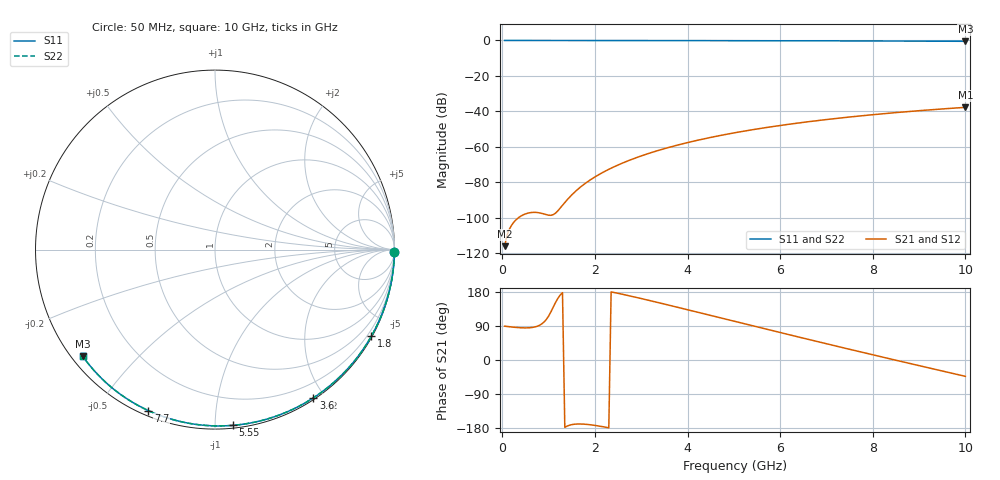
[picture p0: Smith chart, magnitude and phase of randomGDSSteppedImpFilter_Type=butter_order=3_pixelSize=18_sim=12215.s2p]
! freq	dB(S11)	phase(S11)	dB(S12)	phase(S12)
!  dB(S21)	phase(S21)	dB(S22)	phase(S22)
!S-par simulation data
#  GHz  S  DB  R 50
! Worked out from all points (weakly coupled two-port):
!   200 points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, 50 MHz to 10 GHz, reference 50 ohm
!   highest |S21| = -37.72 dB at 10 GHz (marker M1); lowest = -116.0 dB at 50 MHz (marker M2)
!   lowest |S11| = -0.5 dB at 10 GHz (marker M3), VSWR 36.52, Z = 1.54 - j17.6 ohm
!   |S11| at or under -10 dB: nowhere
!   |S22| runs from -0.5 to 0.0 dB; largest |S21 - S12| = 0
!   S11 on the Smith chart (normalised r, x): 50 MHz: open; 1.8 GHz: 0.03, -3.88; 3.6 GHz: 0.02, -1.86; 5.55 GHz: 0.02, -1.11; 7.7 GHz: 0.02, -0.67; 10 GHz: 0.03, -0.35
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0.05  -0.00 -0.8  -115.98 89.3  -115.98 89.3  -0.00 -0.8
0.45  -0.01 -7.3  -98.33 84.8  -98.33 84.8  -0.01 -7.3
0.9  -0.02 -14.6  -97.84 100.0  -97.84 100.0  -0.02 -14.6
1.75  -0.04 -28.1  -81.38 -169.2  -81.38 -169.2  -0.04 -28.2
1.8  -0.04 -28.9  -80.41 -169.6  -80.41 -169.6  -0.04 -28.9
1.85  -0.04 -29.7  -79.49 -170.2  -79.49 -170.2  -0.04 -29.7
2.05  -0.04 -32.9  -76.17 -173.5  -76.17 -173.5  -0.04 -32.9
2.2  -0.04 -35.2  -73.99 -176.7  -73.99 -176.7  -0.04 -35.2
2.55  -0.05 -40.6  -69.63 174.6  -69.63 174.6  -0.05 -40.6
2.95  -0.06 -46.7  -65.56 163.6  -65.56 163.6  -0.06 -46.7
3.4  -0.07 -53.5  -61.76 150.6  -61.76 150.6  -0.07 -53.5
3.6  -0.08 -56.5  -60.27 144.6  -60.27 144.6  -0.08 -56.5
3.9  -0.08 -60.9  -58.22 135.7  -58.22 135.7  -0.08 -60.9
4.3  -0.09 -66.7  -55.78 123.7  -55.78 123.7  -0.09 -66.7
5.05  -0.12 -77.3  -51.90 101.0  -51.90 101.0  -0.12 -77.4
5.55  -0.14 -84.2  -49.70 86.0  -49.70 86.0  -0.14 -84.3
6.1  -0.16 -91.7  -47.57 69.5  -47.57 69.5  -0.16 -91.7
6.7  -0.19 -99.6  -45.52 51.7  -45.52 51.7  -0.19 -99.6
7.7  -0.26 -112.5  -42.62 22.4  -42.62 22.4  -0.26 -112.5
8.35  -0.31 -120.6  -41.02 3.7  -41.02 3.7  -0.31 -120.7
9.2  -0.39 -131.2  -39.19 -20.6  -39.19 -20.6  -0.39 -131.3
10  -0.48 -141.1  -37.72 -43.1  -37.72 -43.1  -0.48 -141.2
